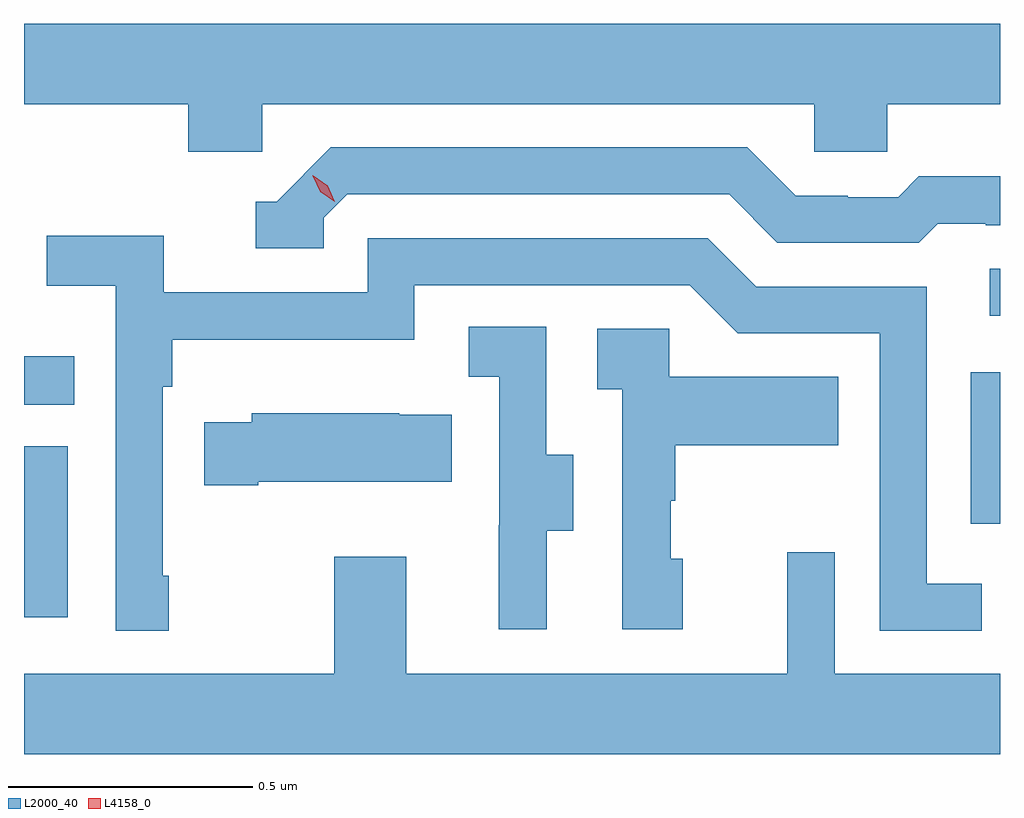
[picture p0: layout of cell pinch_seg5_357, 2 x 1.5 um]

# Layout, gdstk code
import gdstk
lib = gdstk.Library(unit=1e-6, precision=1e-09)
def R(c, l, rs):  # rectangles x0, y0, x1, y1
    for r in rs: c.add(gdstk.rectangle(r[:2], r[2:], *l))
def P(c, l, *ps):  # polygons
    for p in ps: c.add(gdstk.Polygon(p, *l))
L2000_40 = (2000, 40)
L4158_0 = (4158, 0)

pinch_seg5_357 = lib.new_cell('pinch_seg5_357')
R(pinch_seg5_357, L2000_40, [(977.488,886.344,977.578,886.695), (979.428,886.536,979.488,886.846), (977.488,886.78,977.591,886.879), (979.467,886.962,979.488,887.058)])
P(pinch_seg5_357, L2000_40, [(977.976,887.396),(979.107,887.396),(979.107,887.298),(979.257,887.298),(979.257,887.396),(979.488,887.396),(979.488,887.56),(977.488,887.56),(977.488,887.396),(977.825,887.396),(977.825,887.298),(977.976,887.298)],
  [(978.102,887.163),(978.15,887.211),(978.933,887.211),(979.032,887.112),(979.321,887.112),(979.36,887.151),(979.459,887.151),(979.459,887.148),(979.488,887.148),(979.488,887.248),(979.321,887.248),(979.279,887.205),(979.176,887.205),(979.176,887.208),(979.069,887.208),(978.97,887.307),(978.117,887.307),(978.006,887.196),(977.963,887.196),(977.963,887.1),(978.102,887.1)],
  [(977.785,886.429),(977.772,886.429),(977.772,886.817),(977.792,886.817),(977.792,886.913),(978.288,886.913),(978.288,887.025),(978.852,887.025),(978.951,886.926),(979.242,886.926),(979.242,886.317),(979.451,886.317),(979.451,886.413),(979.338,886.413),(979.338,887.022),(978.988,887.022),(978.889,887.121),(978.192,887.121),(978.192,887.01),(977.774,887.01),(977.774,887.126),(977.535,887.126),(977.535,887.024),(977.676,887.024),(977.676,886.317),(977.785,886.317)],
  [(978.559,886.522),(978.613,886.522),(978.613,886.677),(978.558,886.677),(978.558,886.94),(978.399,886.94),(978.399,886.837),(978.462,886.837),(978.462,886.533),(978.461,886.533),(978.461,886.32),(978.559,886.32)],
  [(978.838,886.464),(978.813,886.464),(978.813,886.583),(978.823,886.583),(978.823,886.697),(979.157,886.697),(979.157,886.837),(978.81,886.837),(978.81,886.935),(978.663,886.935),(978.663,886.811),(978.714,886.811),(978.714,886.32),(978.838,886.32)],
  [(977.968,886.622),(978.365,886.622),(978.365,886.759),(978.257,886.759),(978.257,886.762),(977.955,886.762),(977.955,886.744),(977.857,886.744),(977.857,886.615),(977.968,886.615)],
  [(979.488,886.228),(979.149,886.228),(979.149,886.477),(979.052,886.477),(979.052,886.228),(978.271,886.228),(978.271,886.468),(978.124,886.468),(978.124,886.228),(977.488,886.228),(977.488,886.064),(979.488,886.064)])
P(pinch_seg5_357, L4158_0, [(978.125,887.196),(978.095,887.216),(978.08,887.249),(978.08,887.25),(978.08,887.25),(978.11,887.229),(978.125,887.196),(978.125,887.196)])

lib.write_gds('pinch_seg5_357.gds')
